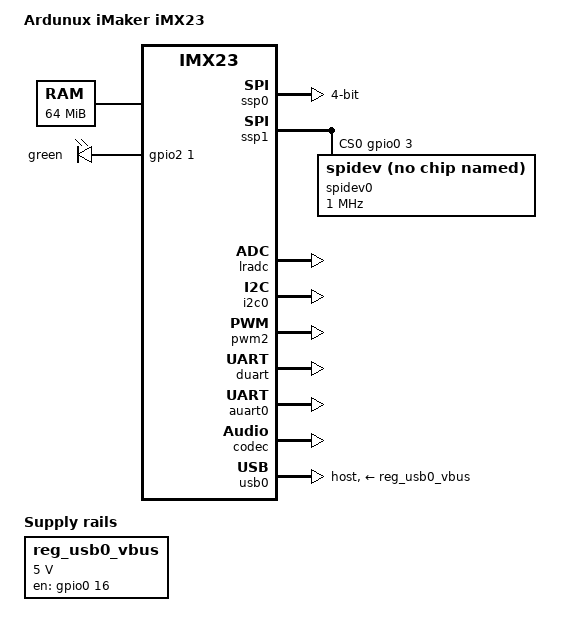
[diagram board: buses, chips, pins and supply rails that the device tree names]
/*
 * Copyright 2012 Freescale Semiconductor, Inc.
 *
 * Author: Fabio Estevam <fabio.estevam@freescale.com>
 *
 * The code contained herein is licensed under the GNU General Public
 * License. You may obtain a copy of the GNU General Public License
 * Version 2 or later at the following locations:
 *
 * http://www.opensource.org/licenses/gpl-license.html
 * http://www.gnu.org/copyleft/gpl.html
 */

/dts-v1/;
#include <dt-bindings/gpio/gpio.h>
#include "imx23-ardunux-imaker.dtsi"

/ {
	model = "Ardunux iMaker iMX23";
	compatible = "ardunux,imaker-imx23", "fsl,imx23";

	memory {
		reg = <0x40000000 0x04000000>;
	};

	apb@80000000 {
		apbh@80000000 {
			ssp0: ssp@80010000 {
				compatible = "fsl,imx23-mmc";
				pinctrl-names = "default";
				pinctrl-0 = <&mmc0_4bit_pins_a &mmc0_pins_fixup>;
				bus-width = <4>;
				broken-cd;
				status = "okay";
			};

			pinctrl@80018000 {
				pinctrl-names = "default";
				pinctrl-0 = <&hog_pins_a>;

				hog_pins_a: hog@0 {
					reg = <0>;
					fsl,pinmux-ids = <
						MX23_PAD_GPMI_CLE__GPIO_0_16
					>;
					fsl,drive-strength = <MXS_DRIVE_4mA>;
					fsl,voltage = <MXS_VOLTAGE_HIGH>;
					fsl,pull-up = <MXS_PULL_DISABLE>;
				};

				led_pins_user: led_pins_user@0 {
					reg = <0>;
					fsl,pinmux-ids = <
						MX23_PAD_SSP1_DETECT__GPIO_2_1
					>;
					fsl,drive-strength = <MXS_DRIVE_4mA>;
					fsl,voltage = <MXS_VOLTAGE_HIGH>;
					fsl,pull-up = <MXS_PULL_DISABLE>;
				};
			};

			ssp1: ssp@80034000 {
				#address-cells = <1>;
				#size-cells = <0>;
				compatible = "fsl,imx23-spi";
				pinctrl-names = "default";
				pinctrl-0 = <&spi2_pins_a>;
				cs-gpios = <&gpio0 3 0>;
				status = "okay";

				spidev0: spidev@0 {
					compatible = "spidev";
					spi-max-frequency = <1000000>;
					reg = <0>;
				};
			};
		};

		apbx@80040000 {
          lradc: lradc@80050000 {
				compatible = "fsl,imx23-lradc";
				fsl,num-channels = <16>;

				status = "okay";
			};

			i2c0: i2c@80058000 {
				pinctrl-names = "default";
				pinctrl-0 = <&i2c1_pins_a>;
				status = "okay";
			};

          pwm2: pwm@80064000 {
             pinctrl-names = "default";
             pinctrl-0 = <&pwm2_pins_a>;
             status = "okay";
           };

			duart: serial@80070000 {
				pinctrl-names = "default";
				pinctrl-0 = <&duart_pins_a>;
				status = "okay";
			};

			auart0: serial@8006c000 {
				pinctrl-names = "default";
				pinctrl-0 = <&auart0_2pins_a>;
				status = "okay";
			};

			usbphy0: usbphy@8007c000 {
				status = "okay";
			};

          codec: mxs-builtin-codec {
             compatible = "fsl,mxs-builtin-codec";
             reg = <0x80048000 0x2000>, <0x8004c000 0x2000>, <0x8005c000 0x2000>;
             reg-names = "audioout", "audioin", "rtc";
             clocks = <&clks 31>;
             clock-names = "filt";
            };

           platform_dai: mxs-builtin-cpu-dai {
             compatible = "fsl,mxs-builtin-cpu-dai";
             reg = <0x80048000 0x2000>, <0x8004c000 0x2000>, <0x8005c000 0x2000>;
             reg-names = "audioout", "audioin", "rtc";
             interrupts = <8 6 4>;
             dmas = <&dma_apbx 0>, <&dma_apbx 1>;
             dma-names = "rx", "tx";
            };
		};
	};

	ahb@80080000 {
		usb0: usb@80080000 {
			dr_mode = "host";
			vbus-supply = <&reg_usb0_vbus>;
			status = "okay";
		};
	};

	regulators {
		compatible = "simple-bus";
		#address-cells = <1>;
		#size-cells = <0>;

		reg_usb0_vbus: usb0_vbus {
			compatible = "regulator-fixed";
			regulator-name = "usb0_vbus";
			regulator-min-microvolt = <5000000>;
			regulator-max-microvolt = <5000000>;
			enable-active-high;
			startup-delay-us = <0>;
			gpio = <&gpio0 16 0>;
		};
	};

	gpio-leds {
		compatible = "gpio-leds";
		pinctrl-names = "default";
		pinctrl-0 = <&led_pins_user>;

		user@0 {
			label = "green";
			gpios = <&gpio2 1 GPIO_ACTIVE_HIGH>;
			linux,default-trigger = "timer";
		};
	};

    mxs-builtin-audio {
        compatible = "fsl,mxs-builtin-audio";
        audio-codec = <&codec>;
        cpu-dai = <&platform_dai>;
    };
};
